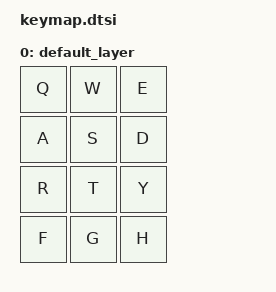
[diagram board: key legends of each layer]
/ {
    keymap {
        compatible = "zmk,keymap";

        default_layer {
            bindings = <
                /* Left half: positions 0..5 */
                &kp Q  &kp W  &kp E
                &kp A  &kp S  &kp D

                /* Right half: positions 6..11 */
                &kp R  &kp T  &kp Y
                &kp F  &kp G  &kp H
            >;
        };
    };
};
